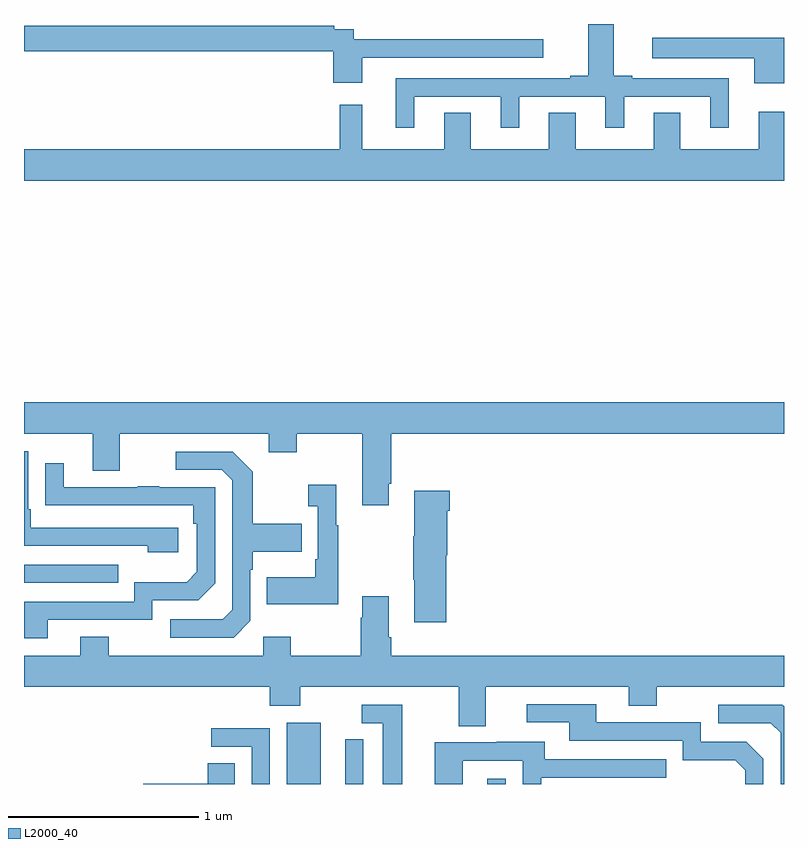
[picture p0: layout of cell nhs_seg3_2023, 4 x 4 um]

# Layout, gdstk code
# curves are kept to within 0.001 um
import gdstk
lib = gdstk.Library(unit=1e-6, precision=1e-09)
def R(c, l, rs):  # rectangles x0, y0, x1, y1
    for r in rs: c.add(gdstk.rectangle(r[:2], r[2:], *l))
def P(c, l, *ps):  # polygons
    for p in ps: c.add(gdstk.Polygon(p, *l))
L2000_40 = (2000, 40)

nhs_seg3_2023 = lib.new_cell('nhs_seg3_2023')
R(nhs_seg3_2023, L2000_40, [(216.383,704.4,216.562,704.722), (217.439,704.4,217.536,704.428), (215,705.459,215.495,705.555)])
P(nhs_seg3_2023, L2000_40, [(217.054,708.018),(217.508,708.018),(217.508,707.853),(217.606,707.853),(217.606,708.018),(218.06,708.018),(218.06,707.853),(218.158,707.853),(218.158,708.018),(218.612,708.018),(218.612,707.853),(218.71,707.853),(218.71,708.114),(218.2,708.114),(218.2,708.127),(218.104,708.127),(218.104,708.4),(217.97,708.4),(217.97,708.127),(217.874,708.127),(217.874,708.114),(216.956,708.114),(216.956,707.853),(217.054,707.853)],
  [(216.781,708.222),(217.732,708.222),(217.732,708.319),(216.735,708.319),(216.735,708.372),(216.632,708.372),(216.632,708.392),(215,708.392),(215,708.256),(216.627,708.256),(216.627,708.09),(216.781,708.09)],
  [(219,708.328),(218.307,708.328),(218.307,708.221),(218.843,708.221),(218.843,708.087),(219,708.087)],
  [(219,707.938),(218.867,707.938),(218.867,707.74),(218.455,707.74),(218.455,707.933),(218.315,707.933),(218.315,707.74),(217.903,707.74),(217.903,707.933),(217.763,707.933),(217.763,707.74),(217.351,707.74),(217.351,707.933),(217.211,707.933),(217.211,707.74),(216.779,707.74),(216.779,707.974),(216.661,707.974),(216.661,707.74),(215,707.74),(215,707.576),(219,707.576)],
  [(215,706.244),(215.363,706.244),(215.363,706.05),(215.503,706.05),(215.503,706.244),(216.287,706.244),(216.287,706.145),(216.435,706.145),(216.435,706.244),(216.779,706.244),(216.779,705.867),(216.919,705.867),(216.919,705.979),(216.932,705.979),(216.932,706.244),(219,706.244),(219,706.408),(215,706.408)],
  [(215.812,705.75),(215.035,705.75),(215.035,705.847),(215.022,705.847),(215.022,706.152),(215,706.152),(215,705.654),(215.651,705.654),(215.651,705.62),(215.812,705.62)],
  [(216.192,705.258),(216.192,705.527),(216.205,705.527),(216.205,705.623),(216.461,705.623),(216.461,705.771),(216.205,705.771),(216.205,706.043),(216.099,706.149),(215.799,706.149),(215.799,706.053),(216.042,706.053),(216.096,705.999),(216.096,705.318),(216.045,705.267),(215.769,705.267),(215.769,705.171),(216.105,705.171)],
  [(215.125,705.264),(215.676,705.264),(215.676,705.366),(215.916,705.366),(216.006,705.456),(216.006,705.963),(215.711,705.963),(215.711,705.968),(215.599,705.968),(215.599,705.963),(215.209,705.963),(215.209,706.087),(215.113,706.087),(215.113,705.868),(215.89,705.867),(215.89,705.77),(215.91,705.77),(215.91,705.516),(215.857,705.463),(215.58,705.463),(215.58,705.36),(215,705.36),(215,705.168),(215.125,705.168)],
  [(216.655,705.763),(216.643,705.763),(216.643,705.976),(216.495,705.976),(216.495,705.863),(216.546,705.863),(216.546,705.583),(216.534,705.583),(216.534,705.487),(216.277,705.487),(216.277,705.347),(216.655,705.347)],
  [(217.223,705.603),(217.228,705.603),(217.228,705.839),(217.241,705.839),(217.241,705.943),(217.055,705.943),(217.055,705.703),(217.048,705.703),(217.048,705.475),(217.055,705.475),(217.055,705.252),(217.223,705.252)],
  [(217.429,704.912),(218.183,704.912),(218.183,704.813),(218.331,704.813),(218.331,704.912),(219,704.912),(219,705.076),(216.932,705.076),(216.932,705.172),(216.919,705.172),(216.919,705.388),(216.779,705.388),(216.779,705.275),(216.772,705.275),(216.772,705.076),(216.405,705.076),(216.405,705.175),(216.258,705.175),(216.258,705.076),(215.445,705.076),(215.445,705.175),(215.297,705.175),(215.297,705.076),(215,705.076),(215,704.912),(216.293,704.912),(216.293,704.813),(216.453,704.813),(216.453,704.912),(217.289,704.912),(217.289,704.704),(217.429,704.704)],
  [(218.892,704.532),(218.802,704.622),(218.562,704.622),(218.562,704.724),(218.011,704.724),(218.011,704.82),(217.647,704.82),(217.647,704.724),(217.871,704.724),(217.871,704.628),(218.466,704.628),(218.466,704.525),(218.743,704.525),(218.796,704.472),(218.796,704.4),(218.892,704.4)],
  [(219,704.808),(218.991,704.817),(218.655,704.817),(218.655,704.721),(218.931,704.721),(218.982,704.67),(218.982,704.4),(219,704.4)],
  [(216.991,704.817),(216.777,704.817),(216.777,704.721),(216.887,704.721),(216.887,704.4),(216.991,704.4)],
  [(216.294,704.694),(215.985,704.694),(215.985,704.595),(216.198,704.595),(216.198,704.4),(216.294,704.4)],
  [(216.786,704.636),(216.69,704.636),(216.69,704.482),(216.692,704.482),(216.692,704.4),(216.786,704.4)],
  [(217.308,704.523),(217.626,704.523),(217.626,704.4),(217.722,704.4),(217.722,704.433),(218.381,704.433),(218.381,704.529),(217.741,704.529),(217.741,704.623),(217.487,704.623),(217.487,704.619),(217.163,704.619),(217.163,704.4),(217.308,704.4)],
  [(216.109,704.51),(215.966,704.51),(215.966,704.402),(215.628,704.402),(215.628,704.4),(216.109,704.4)])

lib.write_gds('nhs_seg3_2023.gds')
